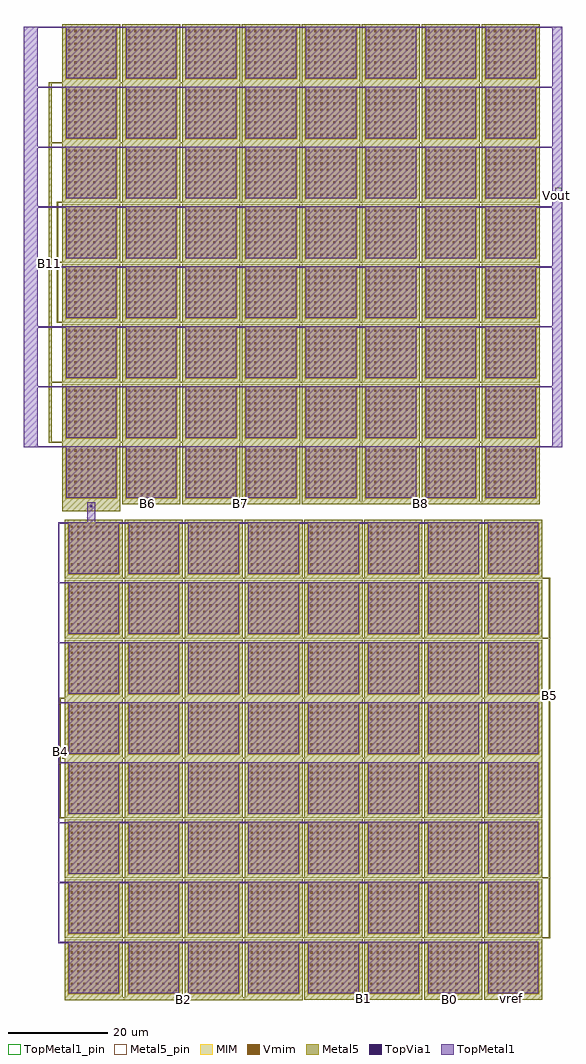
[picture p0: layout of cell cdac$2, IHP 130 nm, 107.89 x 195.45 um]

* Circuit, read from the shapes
.subckt cdac$2 B0 B1 B10 B11 B2 B3 B4 B5 B6 B7 B8 B9 Vout vref
XC1 Vout n1 cap_cmim w=10.44u l=10.44u
XC2 Vout B11 cap_cmim w=10.44u l=10.44u m=32
XC3 Vout B10 cap_cmim w=10.44u l=10.44u m=16
XC4 Vout B9 cap_cmim w=10.44u l=10.44u m=8
XC5 n1 B2 cap_cmim w=10.44u l=10.44u m=4
XC6 n1 B5 cap_cmim w=10.44u l=10.44u m=32
XC7 n1 B4 cap_cmim w=10.44u l=10.44u m=16
XC8 n1 B3 cap_cmim w=10.44u l=10.44u m=8
XC9 Vout B6 cap_cmim w=10.44u l=10.44u
XC10 Vout B7 cap_cmim w=10.44u l=10.44u m=2
XC11 Vout B8 cap_cmim w=10.44u l=10.44u m=4
XC12 n1 B1 cap_cmim w=10.44u l=10.44u m=2
XC13 n1 B0 cap_cmim w=10.44u l=10.44u
XC14 n1 vref cap_cmim w=10.44u l=10.44u
.ends

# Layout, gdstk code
import gdstk
lib = gdstk.Library(unit=1e-6, precision=1e-09)
def R(c, l, rs):  # rectangles x0, y0, x1, y1
    for r in rs: c.add(gdstk.rectangle(r[:2], r[2:], *l))
def A(c, l, x, y, w, h, nx, ny, dx, dy):  # array of equal rectangles
    R(c, l, [(x+i*dx, y+j*dy, x+i*dx+w, y+j*dy+h) for i in range(nx) for j in range(ny)])
def P(c, l, *ps):  # polygons
    for p in ps: c.add(gdstk.Polygon(p, *l))
MIM = (36, 0)
Metal5 = (67, 0)
Metal5_pin = (67, 2)
TopVia1 = (125, 0)
TopMetal1 = (126, 0)
TopMetal1_pin = (126, 2)
Vmim = (129, 0)

cmim_2_3 = lib.new_cell('cmim$2$3')
R(cmim_2_3, MIM, [(0,0,10.44,10.44)])
R(cmim_2_3, Metal5, [(-0.6,-0.6,11.04,11.04)])
R(cmim_2_3, TopMetal1, [(0.18,0.18,10.26,10.26)])
A(cmim_2_3, Vmim, 0.6, 0.6, 0.42, 0.42, 8, 8, 1.26, 1.26)

via_stack_1_11 = lib.new_cell('via_stack$1$11')
R(via_stack_1_11, Metal5, [(-0.31,-0.31,0.31,0.31), (-0.865,-0.145,0.865,0.145)])
R(via_stack_1_11, TopVia1, [(-0.21,-0.21,0.21,0.21)])
R(via_stack_1_11, TopMetal1, [(-0.82,-0.82,0.82,0.82)])

cdac_2 = lib.new_cell('cdac$2')
R(cdac_2, Metal5, [(569.78,-72.92,617.42,-72.37), (617.78,-72.915,641.42,-72.37), (641.78,-72.915,653.42,-72.37), (653.78,-72.915,665.42,-72.37), (569.78,-60.57,666.66,-60.37), (666.66,-60.57,667.01,11.63), (569.78,-48.57,666.66,-48.37), (568.715,-36.57,569.01,-12.37), (569.01,-36.57,665.42,-36.37), (569.01,-36.57,665.42,-36.37), (569.27,-24.57,665.42,-24.37), (569.01,-12.57,665.42,-12.37), (569.78,-0.57,666.66,-0.37), (569.78,11.43,665.42,11.63), (665.42,11.43,666.66,11.63), (569.265,24.98,580.905,26.89), (617.265,26.34,664.905,26.89), (581.265,26.345,592.905,26.89), (593.265,26.345,616.905,26.89), (566.56,38.69,567.15,110.89), (567.15,38.69,664.905,38.89), (567.15,50.69,664.905,50.89), (568.2,62.69,568.495,86.89), (568.495,62.69,664.905,62.89), (568.755,74.69,664.905,74.89), (568.495,86.69,664.905,86.89), (567.15,98.69,569.265,98.89), (569.265,98.69,664.905,98.89), (567.15,110.69,569.265,110.89), (569.265,110.69,664.905,110.89)])
R(cdac_2, Metal5_pin, [(646.445,-72.895,647.205,-72.41), (593.16,-72.89,594,-72.415), (629.33,-72.87,629.86,-72.445), (658.965,-72.87,659.695,-72.455), (569.315,-24.54,569.685,-24.39), (568.75,-23.375,568.99,-23.005), (666.705,-12.205,666.98,-11.705), (585.93,26.365,586.69,26.85), (640.645,26.37,641.485,26.845), (604.815,26.39,605.345,26.815), (566.615,74.3,567.075,74.94), (568.8,74.72,569.17,74.87), (568.235,75.885,568.475,76.255)])
A(cdac_2, TopMetal1, 564.335, 49.75, 5.71, 0.235, 1, 4, 0, 24)
A(cdac_2, TopMetal1, 570.045, 49.75, 94.08, 0.235, 1, 3, 0, 24)
A(cdac_2, TopMetal1, 664.125, 97.75, 3.26, 0.235, 1, 3, 0, 12)
R(cdac_2, TopMetal1, [(570.56,10.49,664.64,10.725), (568.52,22.49,570.56,22.725), (570.56,22.49,664.64,22.725), (574.28,22.725,575.925,25.135), (561.545,37.75,564.335,121.985), (564.335,37.75,570.045,37.985), (570.045,37.75,664.125,37.985), (664.125,37.75,667.385,37.985), (667.385,37.75,669.43,121.985), (664.125,49.75,667.385,49.985), (564.335,61.75,570.045,61.99), (570.045,61.75,664.125,61.99), (664.125,61.755,667.385,61.99), (664.125,73.75,667.385,73.985), (564.335,85.75,570.045,85.99), (570.045,85.75,664.125,85.99), (664.125,85.755,667.385,85.99), (564.335,109.745,570.045,109.985), (570.045,109.75,664.125,109.985), (570.045,121.75,664.125,121.985)])
P(cdac_2, TopMetal1, [(568.52,-61.51),(568.52,22.49),(568.675,22.49),(568.675,10.725),(570.56,10.725),(570.56,10.49),(568.71,10.49),(568.71,-1.275),(664.64,-1.275),(664.64,-1.51),(568.71,-1.51),(568.71,-13.27),(664.64,-13.27),(664.64,-13.51),(568.705,-13.51),(568.705,-25.275),(664.64,-25.275),(664.64,-25.51),(568.71,-25.51),(568.71,-37.275),(570.56,-37.275),(570.56,-37.27),(664.64,-37.27),(664.64,-37.51),(568.71,-37.51),(568.71,-49.28),(570.56,-49.28),(570.56,-49.275),(664.64,-49.275),(664.64,-49.51),(568.71,-49.51),(568.71,-61.275),(664.64,-61.275),(664.64,-61.51)])
R(cdac_2, TopMetal1_pin, [(668.04,87.11,669.335,89.75)])
cdac_2.add(gdstk.Reference(cmim_2_3, (617.865,51.49)))
cdac_2.add(gdstk.Reference(cmim_2_3, (617.865,63.49)))
cdac_2.add(gdstk.Reference(cmim_2_3, (617.865,75.49)))
cdac_2.add(gdstk.Reference(cmim_2_3, (617.865,27.49)))
cdac_2.add(gdstk.Reference(cmim_2_3, (617.865,87.49)))
cdac_2.add(gdstk.Reference(cmim_2_3, (617.865,99.49)))
cdac_2.add(gdstk.Reference(cmim_2_3, (617.865,111.49)))
cdac_2.add(gdstk.Reference(cmim_2_3, (617.865,39.49)))
cdac_2.add(gdstk.Reference(cmim_2_3, (606.38,-59.77)))
cdac_2.add(gdstk.Reference(cmim_2_3, (606.38,-47.77)))
cdac_2.add(gdstk.Reference(cmim_2_3, (606.38,-71.77)))
cdac_2.add(gdstk.Reference(cmim_2_3, (606.38,-35.77)))
cdac_2.add(gdstk.Reference(cmim_2_3, (606.38,-23.77)))
cdac_2.add(gdstk.Reference(cmim_2_3, (606.38,-11.77)))
cdac_2.add(gdstk.Reference(cmim_2_3, (606.38,0.23)))
cdac_2.add(gdstk.Reference(cmim_2_3, (606.38,12.23)))
cdac_2.add(gdstk.Reference(cmim_2_3, (641.865,75.49)))
cdac_2.add(gdstk.Reference(cmim_2_3, (653.865,63.49)))
cdac_2.add(gdstk.Reference(cmim_2_3, (653.865,75.49)))
cdac_2.add(gdstk.Reference(cmim_2_3, (629.865,87.49)))
cdac_2.add(gdstk.Reference(cmim_2_3, (641.865,87.49)))
cdac_2.add(gdstk.Reference(cmim_2_3, (629.865,27.49)))
cdac_2.add(gdstk.Reference(cmim_2_3, (641.865,27.49)))
cdac_2.add(gdstk.Reference(cmim_2_3, (641.865,99.49)))
cdac_2.add(gdstk.Reference(cmim_2_3, (629.865,99.49)))
cdac_2.add(gdstk.Reference(cmim_2_3, (653.865,87.49)))
cdac_2.add(gdstk.Reference(cmim_2_3, (641.865,111.49)))
cdac_2.add(gdstk.Reference(cmim_2_3, (629.865,111.49)))
cdac_2.add(gdstk.Reference(cmim_2_3, (653.865,99.49)))
cdac_2.add(gdstk.Reference(cmim_2_3, (653.865,111.49)))
cdac_2.add(gdstk.Reference(cmim_2_3, (629.865,39.49)))
cdac_2.add(gdstk.Reference(cmim_2_3, (641.865,39.49)))
cdac_2.add(gdstk.Reference(cmim_2_3, (653.865,27.49)))
cdac_2.add(gdstk.Reference(cmim_2_3, (629.865,51.49)))
cdac_2.add(gdstk.Reference(cmim_2_3, (641.865,51.49)))
cdac_2.add(gdstk.Reference(cmim_2_3, (653.865,39.49)))
cdac_2.add(gdstk.Reference(cmim_2_3, (629.865,63.49)))
cdac_2.add(gdstk.Reference(cmim_2_3, (641.865,63.49)))
cdac_2.add(gdstk.Reference(cmim_2_3, (653.865,51.49)))
cdac_2.add(gdstk.Reference(cmim_2_3, (629.865,75.49)))
cdac_2.add(gdstk.Reference(cmim_2_3, (581.865,51.49)))
cdac_2.add(gdstk.Reference(cmim_2_3, (605.865,27.49)))
cdac_2.add(gdstk.Reference(cmim_2_3, (569.865,75.49)))
cdac_2.add(gdstk.Reference(cmim_2_3, (581.865,75.49)))
cdac_2.add(gdstk.Reference(cmim_2_3, (605.865,99.49)))
cdac_2.add(gdstk.Reference(cmim_2_3, (593.865,99.49)))
cdac_2.add(gdstk.Reference(cmim_2_3, (581.865,99.49)))
cdac_2.add(gdstk.Reference(cmim_2_3, (569.865,99.49)))
cdac_2.add(gdstk.Reference(cmim_2_3, (569.865,27.49)))
cdac_2.add(gdstk.Reference(cmim_2_3, (593.865,75.49)))
cdac_2.add(gdstk.Reference(cmim_2_3, (605.865,75.49)))
cdac_2.add(gdstk.Reference(cmim_2_3, (593.865,51.49)))
cdac_2.add(gdstk.Reference(cmim_2_3, (605.865,111.49)))
cdac_2.add(gdstk.Reference(cmim_2_3, (593.865,111.49)))
cdac_2.add(gdstk.Reference(cmim_2_3, (581.865,111.49)))
cdac_2.add(gdstk.Reference(cmim_2_3, (569.865,111.49)))
cdac_2.add(gdstk.Reference(cmim_2_3, (569.865,39.49)))
cdac_2.add(gdstk.Reference(cmim_2_3, (581.865,39.49)))
cdac_2.add(gdstk.Reference(cmim_2_3, (593.865,39.49)))
cdac_2.add(gdstk.Reference(cmim_2_3, (605.865,39.49)))
cdac_2.add(gdstk.Reference(cmim_2_3, (593.865,27.49)))
cdac_2.add(gdstk.Reference(cmim_2_3, (569.865,63.49)))
cdac_2.add(gdstk.Reference(cmim_2_3, (581.865,63.49)))
cdac_2.add(gdstk.Reference(cmim_2_3, (581.865,27.49)))
cdac_2.add(gdstk.Reference(via_stack_1_11, (575.1,25.955)))
cdac_2.add(gdstk.Reference(cmim_2_3, (569.865,87.49)))
cdac_2.add(gdstk.Reference(cmim_2_3, (581.865,87.49)))
cdac_2.add(gdstk.Reference(cmim_2_3, (593.865,87.49)))
cdac_2.add(gdstk.Reference(cmim_2_3, (605.865,87.49)))
cdac_2.add(gdstk.Reference(cmim_2_3, (593.865,63.49)))
cdac_2.add(gdstk.Reference(cmim_2_3, (605.865,63.49)))
cdac_2.add(gdstk.Reference(cmim_2_3, (605.865,51.49)))
cdac_2.add(gdstk.Reference(cmim_2_3, (569.865,51.49)))
cdac_2.add(gdstk.Reference(cmim_2_3, (582.38,-59.77)))
cdac_2.add(gdstk.Reference(cmim_2_3, (594.38,-59.77)))
cdac_2.add(gdstk.Reference(cmim_2_3, (570.38,-59.77)))
cdac_2.add(gdstk.Reference(cmim_2_3, (594.38,-71.77)))
cdac_2.add(gdstk.Reference(cmim_2_3, (582.38,-47.77)))
cdac_2.add(gdstk.Reference(cmim_2_3, (594.38,-47.77)))
cdac_2.add(gdstk.Reference(cmim_2_3, (570.38,-47.77)))
cdac_2.add(gdstk.Reference(cmim_2_3, (570.38,-35.77)))
cdac_2.add(gdstk.Reference(cmim_2_3, (582.38,-35.77)))
cdac_2.add(gdstk.Reference(cmim_2_3, (594.38,-35.77)))
cdac_2.add(gdstk.Reference(cmim_2_3, (570.38,-23.77)))
cdac_2.add(gdstk.Reference(cmim_2_3, (582.38,-23.77)))
cdac_2.add(gdstk.Reference(cmim_2_3, (594.38,-23.77)))
cdac_2.add(gdstk.Reference(cmim_2_3, (570.38,-11.77)))
cdac_2.add(gdstk.Reference(cmim_2_3, (582.38,-11.77)))
cdac_2.add(gdstk.Reference(cmim_2_3, (594.38,-11.77)))
cdac_2.add(gdstk.Reference(cmim_2_3, (570.38,0.23)))
cdac_2.add(gdstk.Reference(cmim_2_3, (570.38,12.23)))
cdac_2.add(gdstk.Reference(cmim_2_3, (594.38,0.23)))
cdac_2.add(gdstk.Reference(cmim_2_3, (582.38,0.23)))
cdac_2.add(gdstk.Reference(cmim_2_3, (570.38,-71.77)))
cdac_2.add(gdstk.Reference(cmim_2_3, (594.38,12.23)))
cdac_2.add(gdstk.Reference(cmim_2_3, (582.38,12.23)))
cdac_2.add(gdstk.Reference(cmim_2_3, (582.38,-71.77)))
cdac_2.add(gdstk.Reference(cmim_2_3, (618.38,-47.77)))
cdac_2.add(gdstk.Reference(cmim_2_3, (630.38,-47.77)))
cdac_2.add(gdstk.Reference(cmim_2_3, (642.38,-47.77)))
cdac_2.add(gdstk.Reference(cmim_2_3, (618.38,-23.77)))
cdac_2.add(gdstk.Reference(cmim_2_3, (630.38,-23.77)))
cdac_2.add(gdstk.Reference(cmim_2_3, (642.38,-23.77)))
cdac_2.add(gdstk.Reference(cmim_2_3, (654.38,-23.77)))
cdac_2.add(gdstk.Reference(cmim_2_3, (630.38,-71.77)))
cdac_2.add(gdstk.Reference(cmim_2_3, (654.38,-47.77)))
cdac_2.add(gdstk.Reference(cmim_2_3, (618.38,-59.77)))
cdac_2.add(gdstk.Reference(cmim_2_3, (630.38,-59.77)))
cdac_2.add(gdstk.Reference(cmim_2_3, (618.38,-11.77)))
cdac_2.add(gdstk.Reference(cmim_2_3, (630.38,-11.77)))
cdac_2.add(gdstk.Reference(cmim_2_3, (642.38,-11.77)))
cdac_2.add(gdstk.Reference(cmim_2_3, (654.38,-11.77)))
cdac_2.add(gdstk.Reference(cmim_2_3, (654.38,0.23)))
cdac_2.add(gdstk.Reference(cmim_2_3, (642.38,0.23)))
cdac_2.add(gdstk.Reference(cmim_2_3, (630.38,0.23)))
cdac_2.add(gdstk.Reference(cmim_2_3, (618.38,0.23)))
cdac_2.add(gdstk.Reference(cmim_2_3, (642.38,-59.77)))
cdac_2.add(gdstk.Reference(cmim_2_3, (654.38,-59.77)))
cdac_2.add(gdstk.Reference(cmim_2_3, (618.38,-35.77)))
cdac_2.add(gdstk.Reference(cmim_2_3, (642.38,-71.77)))
cdac_2.add(gdstk.Reference(cmim_2_3, (654.38,12.23)))
cdac_2.add(gdstk.Reference(cmim_2_3, (642.38,12.23)))
cdac_2.add(gdstk.Reference(cmim_2_3, (630.38,12.23)))
cdac_2.add(gdstk.Reference(cmim_2_3, (618.38,12.23)))
cdac_2.add(gdstk.Reference(cmim_2_3, (630.38,-35.77)))
cdac_2.add(gdstk.Reference(cmim_2_3, (642.38,-35.77)))
cdac_2.add(gdstk.Reference(cmim_2_3, (654.38,-35.77)))
cdac_2.add(gdstk.Reference(cmim_2_3, (654.38,-71.77)))
cdac_2.add(gdstk.Reference(cmim_2_3, (618.38,-71.77)))
cdac_2.add(gdstk.Label('Vout', (668.27,88.225), layer=126, texttype=25))
cdac_2.add(gdstk.Label('B4', (568.865,-23.195), layer=67, texttype=25))
cdac_2.add(gdstk.Label('B3', (569.48,-24.47), layer=67, texttype=25))
cdac_2.add(gdstk.Label('B2', (593.58,-72.73), layer=67, texttype=25))
cdac_2.add(gdstk.Label('B1', (629.56,-72.705), layer=67, texttype=25))
cdac_2.add(gdstk.Label('B0', (646.755,-72.755), layer=67, texttype=25))
cdac_2.add(gdstk.Label('B5', (666.83,-11.93), layer=67, texttype=25))
cdac_2.add(gdstk.Label('vref', (659.285,-72.68), layer=67, texttype=25))
cdac_2.add(gdstk.Label('B8', (641.055,26.555), layer=67, texttype=25))
cdac_2.add(gdstk.Label('B7', (605.05,26.56), layer=67, texttype=25))
cdac_2.add(gdstk.Label('B6', (586.285,26.6), layer=67, texttype=25))
cdac_2.add(gdstk.Label('B11', (566.755,74.58), layer=67, texttype=25))
cdac_2.add(gdstk.Label('B10', (568.32,76.05), layer=67, texttype=25))
cdac_2.add(gdstk.Label('B9', (568.95,74.78), layer=67, texttype=25))

lib.write_gds('cdac_2.gds')
